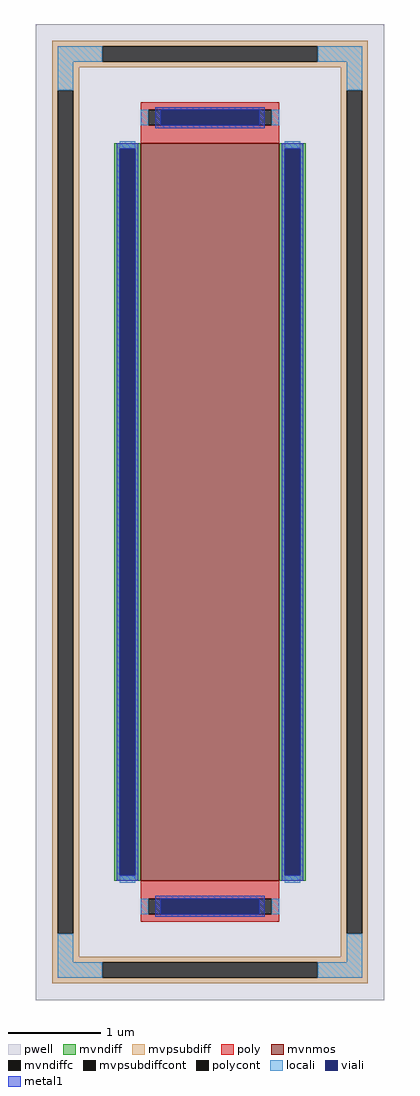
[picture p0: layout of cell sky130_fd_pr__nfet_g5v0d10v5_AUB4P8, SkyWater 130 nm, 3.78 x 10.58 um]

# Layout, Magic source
magic
tech sky130A
magscale 1 2
<< pwell >>
rect -378 -1058 378 1058
<< mvnmos >>
rect -150 -800 150 800
<< mvndiff >>
rect -208 788 -150 800
rect -208 -788 -196 788
rect -162 -788 -150 788
rect -208 -800 -150 -788
rect 150 788 208 800
rect 150 -788 162 788
rect 196 -788 208 788
rect 150 -800 208 -788
<< mvndiffc >>
rect -196 -788 -162 788
rect 162 -788 196 788
<< mvpsubdiff >>
rect -342 1010 342 1022
rect -342 976 -234 1010
rect 234 976 342 1010
rect -342 964 342 976
rect -342 914 -284 964
rect -342 -914 -330 914
rect -296 -914 -284 914
rect 284 914 342 964
rect -342 -964 -284 -914
rect 284 -914 296 914
rect 330 -914 342 914
rect 284 -964 342 -914
rect -342 -976 342 -964
rect -342 -1010 -234 -976
rect 234 -1010 342 -976
rect -342 -1022 342 -1010
<< mvpsubdiffcont >>
rect -234 976 234 1010
rect -330 -914 -296 914
rect 296 -914 330 914
rect -234 -1010 234 -976
<< poly >>
rect -150 872 150 888
rect -150 838 -134 872
rect 134 838 150 872
rect -150 800 150 838
rect -150 -838 150 -800
rect -150 -872 -134 -838
rect 134 -872 150 -838
rect -150 -888 150 -872
<< polycont >>
rect -134 838 134 872
rect -134 -872 134 -838
<< locali >>
rect -330 976 -234 1010
rect 234 976 330 1010
rect -330 914 -296 976
rect 296 914 330 976
rect -150 838 -134 872
rect 134 838 150 872
rect -196 788 -162 804
rect -196 -804 -162 -788
rect 162 788 196 804
rect 162 -804 196 -788
rect -150 -872 -134 -838
rect 134 -872 150 -838
rect -330 -976 -296 -914
rect 296 -976 330 -914
rect -330 -1010 -234 -976
rect 234 -1010 330 -976
<< viali >>
rect -107 838 107 872
rect -196 -788 -162 788
rect 162 -788 196 788
rect -107 -872 107 -838
<< metal1 >>
rect -119 872 119 878
rect -119 838 -107 872
rect 107 838 119 872
rect -119 832 119 838
rect -202 788 -156 800
rect -202 -788 -196 788
rect -162 -788 -156 788
rect -202 -800 -156 -788
rect 156 788 202 800
rect 156 -788 162 788
rect 196 -788 202 788
rect 156 -800 202 -788
rect -119 -838 119 -832
rect -119 -872 -107 -838
rect 107 -872 119 -838
rect -119 -878 119 -872
<< properties >>
string FIXED_BBOX -313 -993 313 993
string gencell sky130_fd_pr__nfet_g5v0d10v5
string library sky130
string parameters w 8 l 1.5 m 1 nf 1 diffcov 100 polycov 100 guard 1 glc 1 grc 1 gtc 1 gbc 1 tbcov 100 rlcov 100 topc 1 botc 1 poverlap 0 doverlap 1 lmin 0.50 wmin 0.42 compatible {sky130_fd_pr__nfet_01v8 sky130_fd_pr__nfet_01v8_lvt  sky130_fd_bs_flash__special_sonosfet_star  sky130_fd_pr__nfet_g5v0d10v5 sky130_fd_pr__nfet_05v0_nvt  sky130_fd_pr__nfet_03v3_nvt} full_metal 1 viasrc 100 viadrn 100 viagate 80 viagb 0 viagr 0 viagl 0 viagt 0
<< end >>
